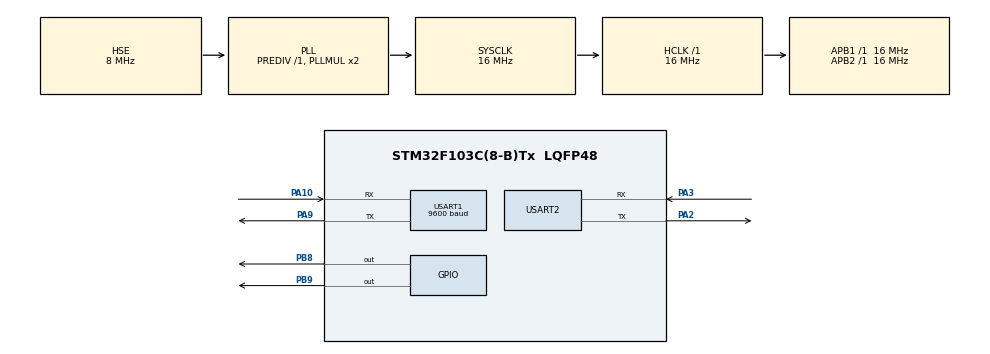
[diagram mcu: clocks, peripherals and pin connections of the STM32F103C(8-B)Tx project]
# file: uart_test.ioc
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Mcu.Family=STM32F1
Mcu.Name=STM32F103C(8-B)Tx
Mcu.Package=LQFP48
NVIC.PriorityGroup=NVIC_PRIORITYGROUP_4
NVIC.USART1_IRQn=true\:0\:0\:false\:false\:true\:true\:true\:true
PA10.Mode=Asynchronous
PA10.Signal=USART1_RX
PA13.Mode=Serial_Wire
PA13.Signal=SYS_JTMS-SWDIO
PA14.Mode=Serial_Wire
PA14.Signal=SYS_JTCK-SWCLK
PA2.Mode=Asynchronous
PA2.Signal=USART2_TX
PA3.Mode=Asynchronous
PA3.Signal=USART2_RX
PA9.Mode=Asynchronous
PA9.Signal=USART1_TX
PB8.PinState=GPIO_PIN_SET
PB8.Signal=GPIO_Output
PB9.PinState=GPIO_PIN_SET
PB9.Signal=GPIO_Output
PD0-OSC_IN.Mode=HSE-External-Oscillator
PD0-OSC_IN.Signal=RCC_OSC_IN
PD1-OSC_OUT.Mode=HSE-External-Oscillator
PD1-OSC_OUT.Signal=RCC_OSC_OUT
ProjectManager.HeapSize=0x200
ProjectManager.StackSize=0x400
ProjectManager.TargetToolchain=MDK-ARM V5.32
RCC.AHBFreq_Value=16000000
RCC.APB1Freq_Value=16000000
RCC.APB1TimFreq_Value=16000000
RCC.APB2Freq_Value=16000000
RCC.APB2TimFreq_Value=16000000
RCC.HCLKFreq_Value=16000000
RCC.PLLSourceVirtual=RCC_PLLSOURCE_HSE
RCC.SYSCLKFreq_VALUE=16000000
RCC.SYSCLKSource=RCC_SYSCLKSOURCE_PLLCLK
RCC.USBFreq_Value=16000000
USART1.BaudRate=9600
USART1.VirtualMode=VM_ASYNC
USART2.VirtualMode=VM_ASYNC
board=custom

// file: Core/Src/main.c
/* USER CODE BEGIN Header */
/**
  ******************************************************************************
  * @file           : main.c
  * @brief          : ESP8266 TCP server and LED control example
  ******************************************************************************
  * @attention
  *
  * Copyright (c) 2026 STMicroelectronics.
  * All rights reserved.
  *
  * This software is licensed under terms that can be found in the LICENSE file
  * in the root directory of this software component.
  * If no LICENSE file comes with this software, it is provided AS-IS.
  *
  ******************************************************************************
  */
/* USER CODE END Header */
#include "main.h"
#include "usart.h"
#include "gpio.h"

/* USER CODE BEGIN Includes */
#include <stdio.h>
#include <string.h>
/* USER CODE END Includes */

/* USER CODE BEGIN PD */
/*
 * 命名说明：
 * ESP_LINE：ESP8266输出的一行AT应答，或接收中的+IPD头部。
 * DEBUG_TX：发往调试串口（USART2/CH340）的待发送数据。
 * BUF_LEN ：对应缓冲区可容纳的字节数。
 */
#define ESP_LINE_BUF_LEN         128U
#define DEBUG_TX_BUF_LEN         256U
#define ESP_INVALID_LINK_ID      0xFFU /* 不可能出现的连接ID，用于表示“无连接” */
#define ESP_MAX_LINK_ID          4U    /* CIPMUX=1时可用的连接ID为0~4 */
#define TCP_SERVER_PORT          8880U

/*
 * USART1连接ESP8266，USART2连接CH340调试串口。
 * ESP8266工作在Station模式，接入已有Wi-Fi后在8880端口监听TCP连接；
 * 上位机应连接“ESP8266获取到的IP地址:8880”。
 */
static const char WIFI_JOIN_COMMAND[] =
    "AT+CWJAP=\"mi\",\"12345678\"\r\n";
static const char ESP_RESET_COMMAND[] = "AT+RST\r\n";
static const char ESP_STATION_MODE_COMMAND[] = "AT+CWMODE=1\r\n";
static const char ESP_NORMAL_MODE_COMMAND[] = "AT+CIPMODE=0\r\n";
static const char ESP_MULTI_CONNECTION_COMMAND[] = "AT+CIPMUX=1\r\n";
static const char ESP_SERVER_START_COMMAND[] = "AT+CIPSERVER=1,8880\r\n";
static const char ESP_IP_QUERY_COMMAND[] = "AT+CIFSR\r\n";

/*
 * AT命令应答标志：由USART1接收中断置位，由主循环中的等待函数读取。
 * 这些变量在中断和主程序之间共享，因此必须使用volatile。
 */
volatile uint8_t WIFI_GOT_IP_Flag = 0U;
volatile uint8_t ESP_AT_OK_Flag = 0U;
volatile uint8_t ESP_AT_ERROR_Flag = 0U;
volatile uint8_t ESP_SEND_PROMPT_Flag = 0U;
volatile uint8_t ESP_SEND_OK_Flag = 0U;
volatile uint8_t ESP_SERVER_READY_Flag = 0U;

/* 当前TCP客户端状态；ESP8266多连接服务器模式支持连接ID 0~4。 */
volatile uint8_t TCP_CLIENT_CONNECTED = 0U;
volatile uint8_t TCP_CLIENT_ID = ESP_INVALID_LINK_ID;
/* USER CODE END PD */

/* USER CODE BEGIN PV */
uint8_t ESP_RX_BYTE = 0U;
/*
 * ESP_LINE_BUF：保存ESP8266当前正在输出的一行文本或+IPD头部。
 * ESP_LINE_LENGTH：缓冲区内已经接收、尚未完成解析的有效字节数。
 */
uint8_t ESP_LINE_BUF[ESP_LINE_BUF_LEN];
volatile uint16_t ESP_LINE_LENGTH = 0U;

/*
 * USART1 -> USART2转发环形缓冲区。
 * 接收中断负责写入，主循环负责发送；始终空出一个元素以区分“空”和“满”。
 * DEBUG_TX_HEAD：下一个待写入位置；DEBUG_TX_TAIL：下一个待发送位置。
 * DEBUG_TX_OVERRUN：写入速度过快导致缓冲区已满的标志。
 */
uint8_t DEBUG_TX_BUF[DEBUG_TX_BUF_LEN];
volatile uint16_t DEBUG_TX_HEAD = 0U;
volatile uint16_t DEBUG_TX_TAIL = 0U;
volatile uint8_t DEBUG_TX_OVERRUN = 0U;

/* +IPD数据区状态：记录当前TCP数据还剩多少字节，以及数据所属连接。 */
volatile uint16_t ESP_IPD_REMAINING = 0U;
volatile uint8_t ESP_IPD_LINK_ID = ESP_INVALID_LINK_ID;

/*
 * LED命令状态：0=无命令，1=开灯，2=关灯。
 * PENDING由接收中断置位，主循环取出后操作GPIO并回复客户端。
 */
volatile uint8_t LED_COMMAND_PENDING = 0U;
volatile uint8_t LED_COMMAND_LINK_ID = ESP_INVALID_LINK_ID;
uint8_t LED_COMMAND_MATCH = 0U;
uint8_t LED_PARSE_LINK_ID = ESP_INVALID_LINK_ID;
/* USER CODE END PV */

void SystemClock_Config(void);
/* USER CODE BEGIN PFP */
static void UART2_DebugPrint(const char *message);
static void Debug_QueueData(const uint8_t *data, uint16_t length);
static void Debug_FlushPending(void);
static void LED_ParseByte(uint8_t link_id, uint8_t byte);
static void LED_ProcessPending(void);
static uint8_t ESP_SendCommandWaitOK(const char *command, uint32_t timeout_ms);
static uint8_t ESP_SendToClient(uint8_t link_id,
                                const uint8_t *data,
                                uint16_t length);
static uint8_t ESP_ParseIPDHeader(const uint8_t *header,
                                  uint16_t length,
                                  uint8_t *link_id,
                                  uint16_t *payload_length);
static void ESP_ProcessLine(char *line);
/* USER CODE END PFP */

/* USER CODE BEGIN 0 */

static void UART2_DebugPrint(const char *message)
{
  /* 调试输出只在主程序上下文中调用，允许使用阻塞发送。 */
  if (message == NULL)
  {
    return;
  }

  (void)HAL_UART_Transmit(&huart2, (uint8_t *)message,
                          (uint16_t)strlen(message), 1000U);
}

static void Debug_QueueData(const uint8_t *data, uint16_t length)
{
  uint16_t i;

  /*
   * Queue表示“入队”：本函数由USART1接收中断调用，只将数据加入
   * DEBUG_TX_BUF，不在中断中执行可能阻塞的串口发送。
   */
  for (i = 0U; i < length; i++)
  {
    uint16_t next = (DEBUG_TX_HEAD + 1U) % DEBUG_TX_BUF_LEN;

    /* next追上TAIL表示缓冲区已满，保留已有数据并记录溢出。 */
    if (next == DEBUG_TX_TAIL)
    {
      DEBUG_TX_OVERRUN = 1U;
      break;
    }

    DEBUG_TX_BUF[DEBUG_TX_HEAD] = data[i];
    DEBUG_TX_HEAD = next;
  }
}

static void Debug_FlushPending(void)
{
  /*
   * FlushPending表示“发送仍在等待的数据”：由主程序将DEBUG_TX_BUF中
   * 尚未发送的数据通过USART2输出，每次发送一段连续内存以减少发送次数。
   */
  while (DEBUG_TX_TAIL != DEBUG_TX_HEAD)
  {
    uint16_t head = DEBUG_TX_HEAD;
    uint16_t length;

    if (head > DEBUG_TX_TAIL)
    {
      length = head - DEBUG_TX_TAIL;
    }
    else
    {
      length = DEBUG_TX_BUF_LEN - DEBUG_TX_TAIL;
    }

    if (HAL_UART_Transmit(&huart2,
                          &DEBUG_TX_BUF[DEBUG_TX_TAIL],
                          length, 1000U) != HAL_OK)
    {
      break;
    }

    DEBUG_TX_TAIL = (DEBUG_TX_TAIL + length) % DEBUG_TX_BUF_LEN;
  }
}

static void LED_ParseByte(uint8_t link_id, uint8_t byte)
{
  /* 客户端发生变化时清空匹配进度，避免拼接不同客户端的半条命令。 */
  if (LED_PARSE_LINK_ID != link_id)
  {
    LED_PARSE_LINK_ID = link_id;
    LED_COMMAND_MATCH = 0U;
  }

  if ((byte >= 'A') && (byte <= 'Z'))
  {
    /* 命令不区分大小写。 */
    byte = (uint8_t)(byte + ('a' - 'A'));
  }

  /*
   * 使用流式状态机匹配led1/led0，因此命令即使跨越多个TCP数据包也能识别。
   * 匹配到重复的'l'时保留状态1，便于从新的命令起点继续匹配。
   */
  switch (LED_COMMAND_MATCH)
  {
    case 0U:
      LED_COMMAND_MATCH = (byte == 'l') ? 1U : 0U;
      break;

    case 1U:
      LED_COMMAND_MATCH = (byte == 'e') ? 2U :
                          ((byte == 'l') ? 1U : 0U);
      break;

    case 2U:
      LED_COMMAND_MATCH = (byte == 'd') ? 3U :
                          ((byte == 'l') ? 1U : 0U);
      break;

    case 3U:
      if (byte == '1')
      {
        LED_COMMAND_LINK_ID = link_id;
        LED_COMMAND_PENDING = 1U;
      }
      else if (byte == '0')
      {
        LED_COMMAND_LINK_ID = link_id;
        LED_COMMAND_PENDING = 2U;
      }
      LED_COMMAND_MATCH = (byte == 'l') ? 1U : 0U;
      break;

    default:
      LED_COMMAND_MATCH = 0U;
      break;
  }
}

static uint8_t ESP_SendCommandWaitOK(const char *command, uint32_t timeout_ms)
{
  uint32_t start_tick;

  /* 清除上一次命令留下的结果，随后由接收中断解析OK/ERROR并置位。 */
  ESP_AT_OK_Flag = 0U;
  ESP_AT_ERROR_Flag = 0U;

  if (HAL_UART_Transmit(&huart1, (uint8_t *)command,
                        (uint16_t)strlen(command), 1000U) != HAL_OK)
  {
    return 0U;
  }

  start_tick = HAL_GetTick();
  while ((!ESP_AT_OK_Flag) && (!ESP_AT_ERROR_Flag) &&
         ((HAL_GetTick() - start_tick) < timeout_ms))
  {
    /* 等待AT应答期间继续排空调试缓冲区，避免接收数据堆积。 */
    Debug_FlushPending();
    HAL_Delay(1U);
  }

  Debug_FlushPending();
  return ESP_AT_OK_Flag ? 1U : 0U;
}

static uint8_t ESP_SendToClient(uint8_t link_id,
                                const uint8_t *data,
                                uint16_t length)
{
  char command[32];
  int command_length;
  uint32_t start_tick;

  if ((link_id > ESP_MAX_LINK_ID) || (data == NULL) || (length == 0U))
  {
    return 0U;
  }

  command_length = snprintf(command, sizeof(command),
                            "AT+CIPSEND=%u,%u\r\n",
                            (unsigned int)link_id,
                            (unsigned int)length);
  if ((command_length <= 0) ||
      ((uint32_t)command_length >= (uint32_t)sizeof(command)))
  {
    return 0U;
  }

  ESP_SEND_PROMPT_Flag = 0U;
  ESP_SEND_OK_Flag = 0U;
  ESP_AT_ERROR_Flag = 0U;

  if (HAL_UART_Transmit(&huart1, (uint8_t *)command,
                        (uint16_t)command_length, 1000U) != HAL_OK)
  {
    return 0U;
  }

  start_tick = HAL_GetTick();
  /* ESP8266返回'>'后才可以发送指定长度的数据。 */
  while ((!ESP_SEND_PROMPT_Flag) && (!ESP_AT_ERROR_Flag) &&
         ((HAL_GetTick() - start_tick) < 3000U))
  {
    Debug_FlushPending();
    HAL_Delay(1U);
  }

  if ((!ESP_SEND_PROMPT_Flag) || ESP_AT_ERROR_Flag)
  {
    return 0U;
  }

  if (HAL_UART_Transmit(&huart1, (uint8_t *)data, length, 1000U) != HAL_OK)
  {
    return 0U;
  }

  start_tick = HAL_GetTick();
  /* SEND OK表示数据已由ESP8266接受；超时或ERROR均视为发送失败。 */
  while ((!ESP_SEND_OK_Flag) && (!ESP_AT_ERROR_Flag) &&
         ((HAL_GetTick() - start_tick) < 5000U))
  {
    Debug_FlushPending();
    HAL_Delay(1U);
  }

  Debug_FlushPending();
  return ESP_SEND_OK_Flag ? 1U : 0U;
}

static void LED_ProcessPending(void)
{
  uint8_t command;
  uint8_t link_id;
  static const uint8_t LED_ON_REPLY[] = "LED ON\r\n";
  static const uint8_t LED_OFF_REPLY[] = "LED OFF\r\n";

  /* 必须等完整的+IPD数据区接收完毕，才能发送AT命令，避免收发状态互相干扰。 */
  if ((LED_COMMAND_PENDING == 0U) || (ESP_IPD_REMAINING != 0U))
  {
    return;
  }

  __disable_irq();
  /* 用短临界区原子地取出中断提交的命令，防止读取过程中被改写。 */
  command = LED_COMMAND_PENDING;
  link_id = LED_COMMAND_LINK_ID;
  LED_COMMAND_PENDING = 0U;
  __enable_irq();

  if (command == 1U)
  {
    /* 开发板LED为低电平点亮。 */
    HAL_GPIO_WritePin(GPIOB, GPIO_PIN_8, GPIO_PIN_RESET);
    UART2_DebugPrint("\r\n[GPIO] LED ON (PB8=LOW)\r\n");
    if (!ESP_SendToClient(link_id, LED_ON_REPLY,
                          (uint16_t)(sizeof(LED_ON_REPLY) - 1U)))
    {
      UART2_DebugPrint("[TCP] LED ON reply failed\r\n");
    }
  }
  else if (command == 2U)
  {
    /* PB8输出高电平时LED熄灭。 */
    HAL_GPIO_WritePin(GPIOB, GPIO_PIN_8, GPIO_PIN_SET);
    UART2_DebugPrint("\r\n[GPIO] LED OFF (PB8=HIGH)\r\n");
    if (!ESP_SendToClient(link_id, LED_OFF_REPLY,
                          (uint16_t)(sizeof(LED_OFF_REPLY) - 1U)))
    {
      UART2_DebugPrint("[TCP] LED OFF reply failed\r\n");
    }
  }
}

static uint8_t ESP_ParseIPDHeader(const uint8_t *header,
                                  uint16_t length,
                                  uint8_t *link_id,
                                  uint16_t *payload_length)
{
  uint16_t pos;
  uint32_t value;

  /* 基本格式：+IPD,<连接ID>,<数据长度>:<数据> */
  if ((header == NULL) || (link_id == NULL) || (payload_length == NULL) ||
      (length < 9U) || (memcmp(header, "+IPD,", 5U) != 0) ||
      (header[length - 1U] != ':'))
  {
    return 0U;
  }

  pos = 5U;
  value = 0U;
  if ((pos >= length) || (header[pos] < '0') || (header[pos] > '9'))
  {
    return 0U;
  }
  while ((pos < length) && (header[pos] >= '0') && (header[pos] <= '9'))
  {
    value = (value * 10U) + (uint32_t)(header[pos] - '0');
    pos++;
  }
  if ((value > ESP_MAX_LINK_ID) || (pos >= length) || (header[pos] != ','))
  {
    return 0U;
  }
  *link_id = (uint8_t)value;

  pos++;
  value = 0U;
  if ((pos >= length) || (header[pos] < '0') || (header[pos] > '9'))
  {
    return 0U;
  }
  while ((pos < length) && (header[pos] >= '0') && (header[pos] <= '9'))
  {
    value = (value * 10U) + (uint32_t)(header[pos] - '0');
    if (value > 65535U)
    {
      return 0U;
    }
    pos++;
  }

  /* CIPDINFO=1时长度后可能附加远端IP和端口，但数据区仍以':'为起点。 */
  if ((pos >= length) ||
      ((header[pos] != ':') && (header[pos] != ',')))
  {
    return 0U;
  }

  *payload_length = (uint16_t)value;
  return 1U;
}

static void ESP_ProcessLine(char *line)
{
  if ((line == NULL) || (line[0] == '\0'))
  {
    return;
  }

  if (strstr(line, "WIFI GOT IP") != NULL)
  {
    /* 模块已从路由器获取IP地址。 */
    WIFI_GOT_IP_Flag = 1U;
  }

  /* 解析主程序中各等待函数所关心的通用AT应答。 */
  if (strcmp(line, "OK") == 0)
  {
    ESP_AT_OK_Flag = 1U;
  }
  else if (strcmp(line, "SEND OK") == 0)
  {
    ESP_SEND_OK_Flag = 1U;
  }
  else if ((strcmp(line, "ERROR") == 0) ||
           (strstr(line, "FAIL") != NULL))
  {
    ESP_AT_ERROR_Flag = 1U;
  }

  if ((line[0] >= '0') && (line[0] <= ('0' + ESP_MAX_LINK_ID)))
  {
    uint8_t link_id = (uint8_t)(line[0] - '0');

    /* 多连接模式下，连接事件格式为“<id>,CONNECT”或“<id>,CLOSED”。 */
    if (strcmp(&line[1], ",CONNECT") == 0)
    {
      TCP_CLIENT_ID = link_id;
      TCP_CLIENT_CONNECTED = 1U;
    }
    else if (strcmp(&line[1], ",CLOSED") == 0)
    {
      if (TCP_CLIENT_ID == link_id)
      {
        TCP_CLIENT_ID = ESP_INVALID_LINK_ID;
        TCP_CLIENT_CONNECTED = 0U;
      }
      if (LED_PARSE_LINK_ID == link_id)
      {
        LED_PARSE_LINK_ID = ESP_INVALID_LINK_ID;
        LED_COMMAND_MATCH = 0U;
      }
    }
  }
}

/* USER CODE END 0 */

int main(void)
{
  /* USER CODE BEGIN 1 */
  uint8_t wifi_connected = 0U;
  uint8_t server_started = 0U;
  uint32_t heartbeat_tick;
  /* USER CODE END 1 */

  /* MCU Configuration--------------------------------------------------------*/

  /* Reset of all peripherals, Initializes the Flash interface and the Systick. */
  HAL_Init();

  /* Configure the system clock */
  SystemClock_Config();

  /* Initialize all configured peripherals */
  MX_GPIO_Init();
  MX_USART1_UART_Init();
  MX_USART2_UART_Init();
  /* USER CODE BEGIN 2 */
  /* USART1 <-> ESP8266；USART2 <-> CH340调试串口。 */
  HAL_Delay(300U);
  UART2_DebugPrint("\r\n=== ESP8266 TCP Server ===\r\n");
  UART2_DebugPrint("USART2: 115200, 8-N-1, TX=PA2, RX=PA3\r\n");

  if (HAL_UART_Receive_IT(&huart1, &ESP_RX_BYTE, 1U) != HAL_OK)
  {
    UART2_DebugPrint("ERROR: USART1 receive interrupt failed\r\n");
  }

  /*
   * 若ESP8266上次运行后仍处于透传模式，先用+++退出透传。
   * +++前后必须保留保护时间，在此期间不能发送其他数据。
   */
  UART2_DebugPrint("Resetting ESP8266...\r\n");
  HAL_Delay(1100U);
  (void)HAL_UART_Transmit(&huart1, (uint8_t *)"+++", 3U, 1000U);
  HAL_Delay(1100U);
  (void)HAL_UART_Transmit(&huart1, (uint8_t *)"\r\n", 2U, 1000U);
  HAL_Delay(100U);

  if (!ESP_SendCommandWaitOK(ESP_RESET_COMMAND, 3000U))
  {
    UART2_DebugPrint("Warning: ESP8266 reset did not return OK\r\n");
  }
  HAL_Delay(2500U);
  /* 复位后模块会输出启动信息，在继续配置前将其转发到调试串口。 */
  Debug_FlushPending();

  /* 配置顺序：Station模式 -> 连接Wi-Fi -> 普通模式 -> 多连接 -> TCP服务器。 */
  UART2_DebugPrint("Selecting WiFi station mode...\r\n");
  if (!ESP_SendCommandWaitOK(ESP_STATION_MODE_COMMAND, 3000U))
  {
    UART2_DebugPrint("ERROR: CWMODE failed\r\n");
  }
  else
  {
    UART2_DebugPrint("Joining WiFi...\r\n");
    WIFI_GOT_IP_Flag = 0U;
    if (ESP_SendCommandWaitOK(WIFI_JOIN_COMMAND, 30000U))
    {
      wifi_connected = 1U;
      UART2_DebugPrint("WiFi connected\r\n");
      UART2_DebugPrint("ESP8266 station IP follows:\r\n");
      (void)ESP_SendCommandWaitOK(ESP_IP_QUERY_COMMAND, 3000U);
    }
    else
    {
      UART2_DebugPrint("ERROR: WiFi join failed or timed out\r\n");
    }
  }

  if (wifi_connected)
  {
    UART2_DebugPrint("Selecting normal (non-transparent) mode...\r\n");
    if (!ESP_SendCommandWaitOK(ESP_NORMAL_MODE_COMMAND, 3000U))
    {
      UART2_DebugPrint("ERROR: CIPMODE=0 failed\r\n");
    }
    else
    {
      UART2_DebugPrint("Enabling multiple connections...\r\n");
      if (!ESP_SendCommandWaitOK(ESP_MULTI_CONNECTION_COMMAND, 3000U))
      {
        UART2_DebugPrint("ERROR: CIPMUX=1 failed\r\n");
      }
      else
      {
        UART2_DebugPrint("Starting TCP server on port 8880...\r\n");
        if (ESP_SendCommandWaitOK(ESP_SERVER_START_COMMAND, 3000U))
        {
          server_started = 1U;
          ESP_SERVER_READY_Flag = 1U;
          UART2_DebugPrint("TCP server ready: connect PC to ESP_IP:8880\r\n");
          UART2_DebugPrint("Commands: led1 = ON, led0 = OFF\r\n");
        }
        else
        {
          UART2_DebugPrint("ERROR: TCP server start failed\r\n");
        }
      }
    }
  }

  if (!server_started)
  {
    UART2_DebugPrint("Server is not ready; heartbeat starts now\r\n");
  }

  heartbeat_tick = HAL_GetTick();
  /* USER CODE END 2 */

  /* Infinite loop */
  while (1)
  {

    /* USER CODE BEGIN 3 */
    /* 耗时的GPIO控制、TCP回复和调试发送均放在主循环，不在中断中执行。 */
    LED_ProcessPending();
    Debug_FlushPending();

    if (DEBUG_TX_OVERRUN)
    {
      /* 清除与中断共享的溢出标志时使用短临界区。 */
      __disable_irq();
      DEBUG_TX_OVERRUN = 0U;
      __enable_irq();
      UART2_DebugPrint("\r\n[UART2] receive forwarding buffer overrun\r\n");
    }

    if ((!ESP_SERVER_READY_Flag) &&
        ((HAL_GetTick() - heartbeat_tick) >= 1000U))
    {
      /* 服务器启动失败时每秒输出一次心跳，表明MCU仍在运行。 */
      heartbeat_tick = HAL_GetTick();
      UART2_DebugPrint("[UART2] heartbeat\r\n");
    }
    HAL_Delay(1U);
  }
  /* USER CODE END 3 */
}

void SystemClock_Config(void)
{
  RCC_OscInitTypeDef RCC_OscInitStruct = {0};
  RCC_ClkInitTypeDef RCC_ClkInitStruct = {0};

  /** Initializes the RCC Oscillators according to the specified parameters
  * in the RCC_OscInitTypeDef structure.
  */
  RCC_OscInitStruct.OscillatorType = RCC_OSCILLATORTYPE_HSE;
  RCC_OscInitStruct.HSEState = RCC_HSE_ON;
  RCC_OscInitStruct.HSEPredivValue = RCC_HSE_PREDIV_DIV1;
  RCC_OscInitStruct.HSIState = RCC_HSI_ON;
  RCC_OscInitStruct.PLL.PLLState = RCC_PLL_ON;
  RCC_OscInitStruct.PLL.PLLSource = RCC_PLLSOURCE_HSE;
  RCC_OscInitStruct.PLL.PLLMUL = RCC_PLL_MUL2;
  if (HAL_RCC_OscConfig(&RCC_OscInitStruct) != HAL_OK)
  {
    Error_Handler();
  }

  /** Initializes the CPU, AHB and APB buses clocks
  */
  RCC_ClkInitStruct.ClockType = RCC_CLOCKTYPE_HCLK|RCC_CLOCKTYPE_SYSCLK
                              |RCC_CLOCKTYPE_PCLK1|RCC_CLOCKTYPE_PCLK2;
  RCC_ClkInitStruct.SYSCLKSource = RCC_SYSCLKSOURCE_PLLCLK;
  RCC_ClkInitStruct.AHBCLKDivider = RCC_SYSCLK_DIV1;
  RCC_ClkInitStruct.APB1CLKDivider = RCC_HCLK_DIV1;
  RCC_ClkInitStruct.APB2CLKDivider = RCC_HCLK_DIV1;

  if (HAL_RCC_ClockConfig(&RCC_ClkInitStruct, FLASH_LATENCY_0) != HAL_OK)
  {
    Error_Handler();
  }
}

/* USER CODE BEGIN 4 */

void HAL_UART_RxCpltCallback(UART_HandleTypeDef *huart)
{
  /* 本应用只处理USART1（ESP8266）的逐字节接收完成中断。 */
  if (huart->Instance == USART1)
  {
    uint8_t byte = ESP_RX_BYTE;

    /*
     * +IPD数据区优先处理：数据内容可以合法包含'>'、回车或换行，
     * 因此不能再按AT应答字符解释。
     */
    if (ESP_IPD_REMAINING > 0U)
    {
      /* 只将TCP有效数据转发到USART2，并用于识别LED命令。 */
      LED_ParseByte(ESP_IPD_LINK_ID, byte);
      Debug_QueueData(&byte, 1U);
      ESP_IPD_REMAINING--;
      (void)HAL_UART_Receive_IT(&huart1, &ESP_RX_BYTE, 1U);
      return;
    }

    if (byte == '>')
    {
      /* CIPSEND命令的发送提示符不是普通的换行结尾应答。 */
      ESP_SEND_PROMPT_Flag = 1U;
      ESP_LINE_LENGTH = 0U;
      (void)HAL_UART_Receive_IT(&huart1, &ESP_RX_BYTE, 1U);
      return;
    }

    if ((byte == '\r') || (byte == '\n'))
    {
      uint16_t length = ESP_LINE_LENGTH;

      /* 收到行结束符后补NUL，将缓存作为C字符串解析。 */
      if (length > 0U)
      {
        ESP_LINE_BUF[length] = '\0';
        Debug_QueueData((const uint8_t *)"[ESP8266]: ", 11U);
        Debug_QueueData(ESP_LINE_BUF, length);
        Debug_QueueData((const uint8_t *)"\r\n", 2U);
        ESP_ProcessLine((char *)ESP_LINE_BUF);
      }

      ESP_LINE_LENGTH = 0U;
      (void)HAL_UART_Receive_IT(&huart1, &ESP_RX_BYTE, 1U);
      return;
    }

    if (ESP_LINE_LENGTH < (ESP_LINE_BUF_LEN - 1U))
    {
      uint8_t link_id;
      uint16_t payload_length;

      ESP_LINE_BUF[ESP_LINE_LENGTH] = byte;
      ESP_LINE_LENGTH++;

      if ((byte == ':') &&
          ESP_ParseIPDHeader(ESP_LINE_BUF, ESP_LINE_LENGTH,
                             &link_id, &payload_length))
      {
        /* 从下一个字节开始，严格按payload_length计数接收TCP数据区。 */
        ESP_IPD_LINK_ID = link_id;
        ESP_IPD_REMAINING = payload_length;
        TCP_CLIENT_ID = link_id;
        TCP_CLIENT_CONNECTED = 1U;
        ESP_LINE_LENGTH = 0U;
      }
    }
    else
    {
      /* 丢弃异常的超长AT应答，并从下一行重新同步。 */
      ESP_LINE_LENGTH = 0U;
    }

    (void)HAL_UART_Receive_IT(&huart1, &ESP_RX_BYTE, 1U);
  }
}

/* USER CODE END 4 */

void Error_Handler(void)
{
  /* USER CODE BEGIN Error_Handler_Debug */
  /* 发生不可恢复的HAL错误时关闭中断并停留在此处，便于调试定位。 */
  __disable_irq();
  while (1)
  {
  }
  /* USER CODE END Error_Handler_Debug */
}
